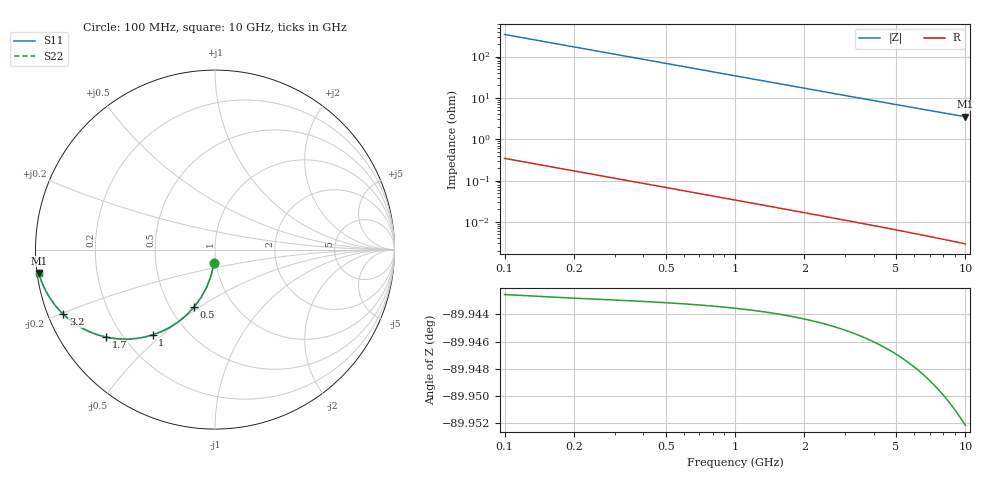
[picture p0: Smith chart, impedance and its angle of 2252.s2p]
# Hz S RI R 50.00
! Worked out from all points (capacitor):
!   100 points, 100 MHz to 10 GHz, reference 50 ohm
!   read as one part in shunt: C = 4.65 pF near 100 MHz
!   lowest |Z| = 3.5 ohm at 10 GHz (marker M1)
!   S11 on the Smith chart (normalised r, x): 100 MHz: 0.98, -0.14; 500 MHz: 0.65, -0.48; 1 GHz: 0.32, -0.47; 1.7 GHz: 0.14, -0.35; 3.2 GHz: 0.04, -0.20; 10 GHz: 0.00, -0.07
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1e8  -0.00534 -0.0725  0.9946 -0.0726  0.9946 -0.0726  -0.00534 -0.0725
2e8  -0.021 -0.1428  0.979 -0.1429  0.979 -0.1429  -0.021 -0.1428
3e8  -0.0459 -0.2087  0.9541 -0.2089  0.9541 -0.2089  -0.0459 -0.2087
4e8  -0.0787 -0.2687  0.9212 -0.2689  0.9212 -0.2689  -0.0787 -0.2687
5e8  -0.1177 -0.3216  0.8823 -0.3219  0.8823 -0.3219  -0.1177 -0.3216
6e8  -0.1611 -0.3669  0.8389 -0.3673  0.8389 -0.3673  -0.1611 -0.3669
7e8  -0.2071 -0.4045  0.7928 -0.405  0.7928 -0.405  -0.2071 -0.4045
8e8  -0.2543 -0.4347  0.7456 -0.4353  0.7456 -0.4353  -0.2543 -0.4347
1e9  -0.3475 -0.4754  0.6524 -0.476  0.6524 -0.476  -0.3475 -0.4754
1.3e9  -0.4736 -0.4984  0.5264 -0.4992  0.5264 -0.4992  -0.4736 -0.4984
1.7e9  -0.6059 -0.4876  0.3941 -0.4887  0.3941 -0.4887  -0.6059 -0.4876
1.8e9  -0.6328 -0.4809  0.3672 -0.4821  0.3672 -0.4821  -0.6328 -0.4809
2.1e9  -0.701 -0.4566  0.299 -0.458  0.299 -0.458  -0.701 -0.4566
2.4e9  -0.7537 -0.4295  0.2462 -0.4311  0.2462 -0.4311  -0.7537 -0.4295
2.8e9  -0.8063 -0.3937  0.1936 -0.3955  0.1936 -0.3955  -0.8063 -0.3937
3.2e9  -0.8446 -0.3607  0.1553 -0.3628  0.1553 -0.3628  -0.8446 -0.3607
3.4e9  -0.8599 -0.3455  0.1401 -0.3477  0.1401 -0.3477  -0.8599 -0.3455
4.2e9  -0.9034 -0.2934  0.0965 -0.2962  0.0965 -0.2962  -0.9034 -0.2934
5.1e9  -0.9324 -0.2489  0.0676 -0.2522  0.0676 -0.2522  -0.9324 -0.2489
6.7e9  -0.9596 -0.194  0.0403 -0.1984  0.0403 -0.1984  -0.9596 -0.194
8.4e9  -0.9739 -0.1559  0.026 -0.1615  0.026 -0.1615  -0.9739 -0.1559
1e10  -0.9815 -0.1308  0.0184 -0.1375  0.0184 -0.1375  -0.9815 -0.1308
